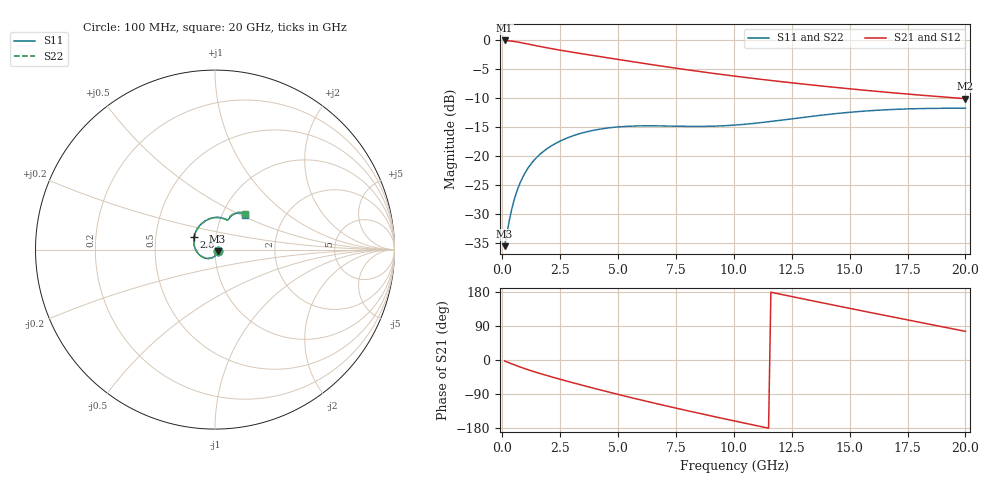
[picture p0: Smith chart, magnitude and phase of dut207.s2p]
! Touchstone file exported from HFSS 2023.1.0
!  File:  D:/Users/fzz/RDL_TSV/temp_RDL_TSV_207_1778756842.aedt
!  Generated:  7:18:23 %x4E0B%x5348  5%x6708 14, 2026
!  Design:  RDL_TSV
!  Project:  temp_RDL_TSV_207_1778756842
!  Setup:  Setup1
!  Solution:  Sweep
! Variables:
!  dtsv = 22.7um
!  hbump = 3um
!  htsv = 74.58um
!  ldown = 696.34um
!  lrdl = 345.33um
!  p = 40
!  p1 = 47.41um
!  rhole = 10um
!  subl = 3470.34um
!  t = 450um
!  tdown = 4.52um
!  trdl = 4.2um
!  viad = 10um
!  wdown = 24.29um
!  wrdl = 14.86um
!  xbump = 18um
# GHz S MA R 50.000000
! Terminal data exported
! Port[1] = TM1_1_T1
! Port[2] = TM1_4_T1
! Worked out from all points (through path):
!   200 points, 100 MHz to 20 GHz, reference 50 ohm
!   highest |S21| = -0.14 dB at 100 MHz (marker M1); lowest = -10.2 dB at 20 GHz (marker M2)
!   group delay of S21, straight-line fit = 37.8 ps
!   lowest |S11| = -35.6 dB at 100 MHz (marker M3), VSWR 1.03, Z = 51.4 - j0.886 ohm
!   |S11| at or under -10 dB: start of sweep to end of sweep
!   |S22| runs from -35.6 to -11.7 dB; largest |S21 - S12| = 1.3e-13
!   S11 on the Smith chart (normalised r, x): 100 MHz: 1.03, -0.02; 2.6 GHz: 0.78, +0.11; 20 GHz: 1.27, +0.53
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0.1  0.01654 -31.4  0.9841 -2.6  0.9841 -2.6  0.01654 -31.4
! Gamma 0 0 0 0
! Port Impedance 50 0 50 0
0.3  0.02735 -73.5  0.9768 -7.5  0.9768 -7.5  0.02735 -73.5
0.5  0.04066 -98.5  0.9655 -12.3  0.9655 -12.3  0.04066 -98.5
0.7  0.0538 -116.8  0.9512 -16.9  0.9512 -16.9  0.05379 -116.9
0.9  0.0661 -132.0  0.9348 -21.3  0.9348 -21.3  0.0661 -132.0
1.2  0.08265 -151.2  0.909 -27.5  0.909 -27.5  0.08264 -151.2
1.6  0.1014 -172.4  0.8756 -35.1  0.8756 -35.1  0.1014 -172.4
2.1  0.1206 165.9  0.838 -44.0  0.838 -44.0  0.1206 165.9
2.6  0.1363 148.2  0.8049 -52.6  0.8049 -52.6  0.1363 148.2
3.5  0.1577 123.4  0.7523 -67.4  0.7523 -67.4  0.1576 123.4
4.2  0.1689 108.6  0.7149 -78.5  0.7149 -78.5  0.1688 108.6
5  0.1767 95.3  0.6749 -90.8  0.6749 -90.8  0.1765 95.4
5.9  0.1803 84.0  0.633 -104.2  0.633 -104.2  0.1799 84.1
6.8  0.1803 76.0  0.5946 -117.2  0.5946 -117.2  0.1799 76.2
8.4  0.1785 68.4  0.535 -139.3  0.535 -139.3  0.1781 68.8
10.1  0.1836 66.1  0.4828 -161.9  0.4828 -161.9  0.1836 66.7
11.7  0.198 65.1  0.4421 177.5  0.4421 177.5  0.1987 65.7
13.4  0.2185 62.7  0.4057 156.1  0.4057 156.1  0.2198 63.3
15  0.2362 59.2  0.3767 136.3  0.3767 136.3  0.238 59.7
16.7  0.2491 55.1  0.3503 115.5  0.3503 115.5  0.2512 55.6
18.3  0.2548 51.8  0.3291 96.2  0.3291 96.2  0.2571 52.2
20  0.2564 49.5  0.3099 75.7  0.3099 75.7  0.2589 49.9
